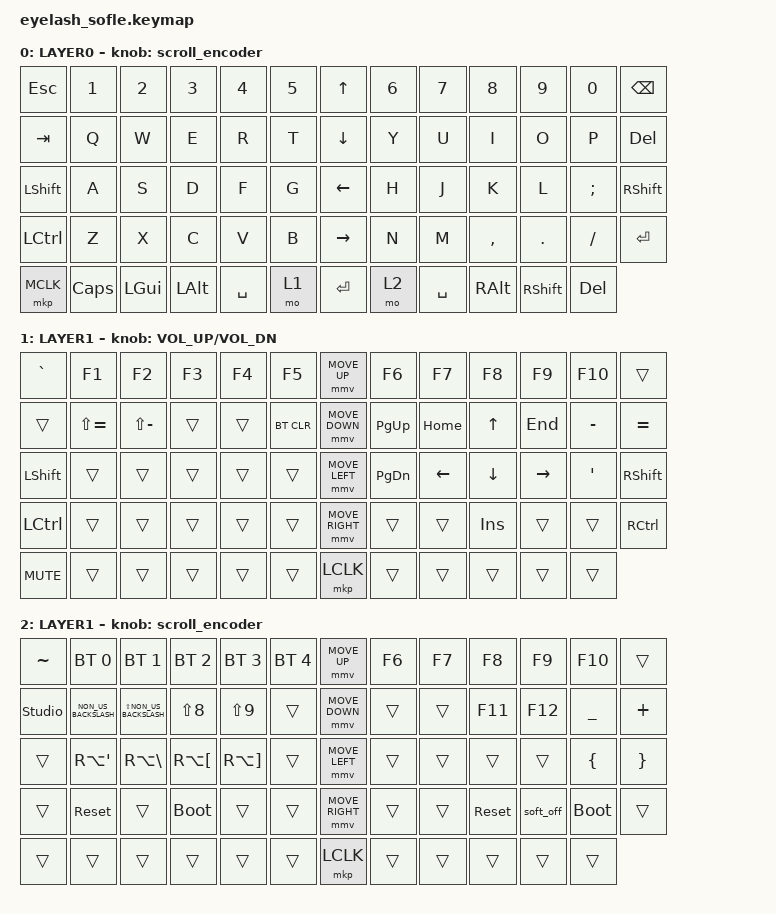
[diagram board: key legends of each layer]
#define ZMK_POINTING_DEFAULT_MOVE_VAL 1200  // 600
#define ZMK_POINTING_DEFAULT_SCRL_VAL 25   // 10

#include <input/processors.dtsi>
#include <zephyr/dt-bindings/input/input-event-codes.h>
#include <dt-bindings/zmk/mouse.h>
#include <behaviors.dtsi>
#include <dt-bindings/zmk/bt.h>
#include <dt-bindings/zmk/keys.h>
#include <dt-bindings/zmk/pointing.h>

&mmv_input_listener { input-processors = <&zip_xy_scaler 2 1>; };

&msc_input_listener { input-processors = <&zip_scroll_scaler 2 1>; };

&msc {
    acceleration-exponent = <1>;      // 0
    time-to-max-speed-ms = <100>;       // 300
    delay-ms = <0>;                   // 0
};

&mmv {
    time-to-max-speed-ms = <500>;
    acceleration-exponent = <1>;
    trigger-period-ms = <16>;
};

&soft_off { hold-time-ms = <2000>; };

/ {
    scroll_encoder: scroll_encoder {
        compatible = "zmk,behavior-sensor-rotate";
        #sensor-binding-cells = <0>;
        bindings = <&msc SCRL_DOWN>, <&msc SCRL_UP>;

        tap-ms = <100>;
    };

    behaviors {
    };

    combos {
        compatible = "zmk,combos";

        softoff {
            bindings = <&soft_off>;
            key-positions = <14 28 40>;
        };
    };

    keymap {
        compatible = "zmk,keymap";

        layer0 {
            bindings = <
&kp ESC    &kp N1    &kp N2        &kp N3        &kp N4     &kp N5    &kp UP_ARROW     &kp N6  &kp N7     &kp N8         &kp N9           &kp N0      &kp BACKSPACE
&kp TAB    &kp Q     &kp W         &kp E         &kp R      &kp T     &kp DOWN_ARROW   &kp Y   &kp U      &kp I          &kp O            &kp P       &kp DELETE
&kp LSHFT  &kp A     &kp S         &kp D         &kp F      &kp G     &kp LEFT_ARROW   &kp H   &kp J      &kp K          &kp L            &kp SEMI    &kp RIGHT_SHIFT
&kp LCTRL  &kp Z     &kp X         &kp C         &kp V      &kp B     &kp RIGHT_ARROW  &kp N   &kp M      &kp COMMA      &kp DOT          &kp FSLH    &kp ENTER
&mkp MCLK  &kp CAPS  &kp LEFT_GUI  &kp LEFT_ALT  &kp SPACE  &mo 1     &kp ENTER        &mo 2   &kp SPACE  &kp RIGHT_ALT  &kp RIGHT_SHIFT  &kp DELETE
            >;

            sensor-bindings = <&scroll_encoder>;
            display-name = "LAYER0";
        };

        layer_1 {
            bindings = <
&kp GRAVE       &kp F1         &kp F2         &kp F3  &kp F4  &kp F5        &mmv MOVE_UP     &kp F6     &kp F7    &kp F8      &kp F9     &kp F10    &trans
&trans          &kp LS(EQUAL)  &kp LS(MINUS)  &trans  &trans  &bt BT_CLR    &mmv MOVE_DOWN   &kp PG_UP  &kp HOME  &kp UP      &kp END    &kp MINUS  &kp EQUAL
&kp LEFT_SHIFT  &trans         &trans         &trans  &trans  &trans        &mmv MOVE_LEFT   &kp PG_DN  &kp LEFT  &kp DOWN    &kp RIGHT  &kp APOS   &kp RIGHT_SHIFT
&kp LCTRL       &trans         &trans         &trans  &trans  &trans        &mmv MOVE_RIGHT  &trans     &trans    &kp INSERT  &trans     &trans     &kp RCTRL
&kp C_MUTE      &trans         &trans         &trans  &trans  &trans        &mkp LCLK        &trans     &trans    &trans      &trans     &trans
            >;

            sensor-bindings = <&inc_dec_kp C_VOLUME_UP C_VOL_DN>;
            display-name = "LAYER1";
        };

        layer_2 {
            bindings = <
&kp TILDE       &bt BT_SEL 0          &bt BT_SEL 1              &bt BT_SEL 2          &bt BT_SEL 3           &bt BT_SEL 4    &mmv MOVE_UP     &kp F6  &kp F7  &kp F8      &kp F9     &kp F10      &trans
&studio_unlock  &kp NON_US_BACKSLASH  &kp LS(NON_US_BACKSLASH)  &kp LS(N8)            &kp LS(N9)             &trans          &mmv MOVE_DOWN   &trans  &trans  &kp F11     &kp F12    &kp UNDER    &kp PLUS
&trans          &kp RA(SINGLE_QUOTE)  &kp RA(BACKSLASH)         &kp RA(LEFT_BRACKET)  &kp RA(RIGHT_BRACKET)  &trans          &mmv MOVE_LEFT   &trans  &trans  &trans      &trans     &kp LBRC     &kp RBRC
&trans          &sys_reset            &trans                    &bootloader           &trans                 &trans          &mmv MOVE_RIGHT  &trans  &trans  &sys_reset  &soft_off  &bootloader  &trans
&trans          &trans                &trans                    &trans                &trans                 &trans          &mkp LCLK        &trans  &trans  &trans      &trans     &trans
            >;

            sensor-bindings = <&scroll_encoder>;
            display-name = "LAYER1";
        };
    };
};
